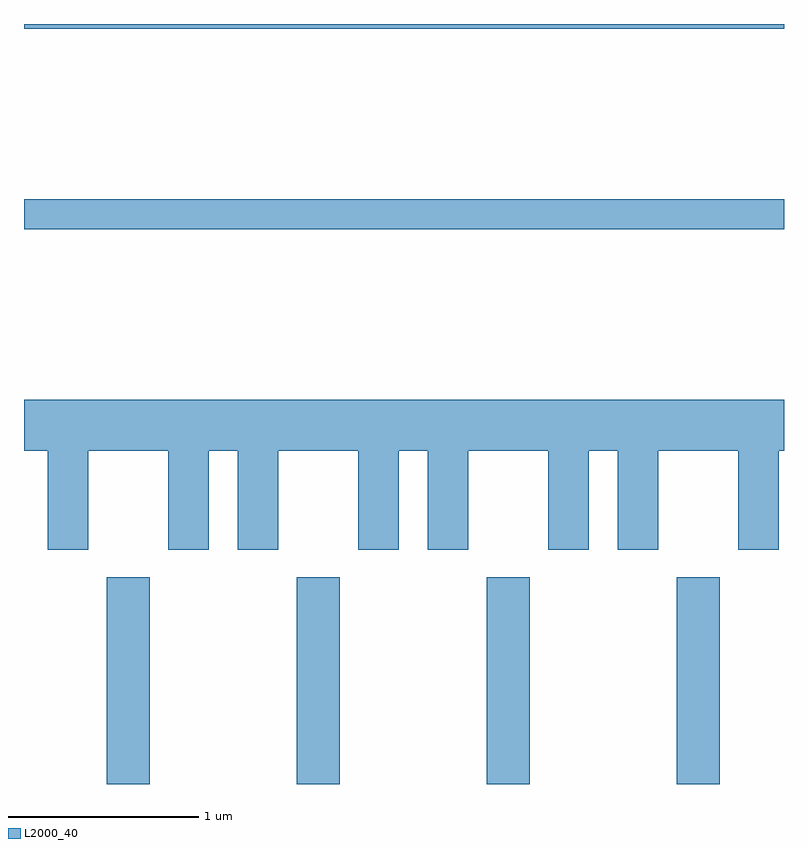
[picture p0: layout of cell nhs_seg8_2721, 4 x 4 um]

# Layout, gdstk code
import gdstk
lib = gdstk.Library(unit=1e-6, precision=1e-09)
def R(c, l, rs):  # rectangles x0, y0, x1, y1
    for r in rs: c.add(gdstk.rectangle(r[:2], r[2:], *l))
def A(c, l, x, y, w, h, nx, ny, dx, dy):  # array of equal rectangles
    R(c, l, [(x+i*dx, y+j*dy, x+i*dx+w, y+j*dy+h) for i in range(nx) for j in range(ny)])
def P(c, l, *ps):  # polygons
    for p in ps: c.add(gdstk.Polygon(p, *l))
L2000_40 = (2000, 40)

nhs_seg8_2721 = lib.new_cell('nhs_seg8_2721')
A(nhs_seg8_2721, L2000_40, 266.046, 1932.342, 0.228, 1.087, 4, 1, 1, 0)
R(nhs_seg8_2721, L2000_40, [(265.611,1935.261,269.611,1935.419), (265.611,1936.316,269.611,1936.342)])
P(nhs_seg8_2721, L2000_40, [(265.611,1934.096),(265.736,1934.096),(265.736,1933.576),(265.949,1933.576),(265.949,1934.096),(266.371,1934.096),(266.371,1933.576),(266.584,1933.576),(266.584,1934.096),(266.736,1934.096),(266.736,1933.576),(266.949,1933.576),(266.949,1934.096),(267.371,1934.096),(267.371,1933.576),(267.584,1933.576),(267.584,1934.096),(267.736,1934.096),(267.736,1933.576),(267.949,1933.576),(267.949,1934.096),(268.371,1934.096),(268.371,1933.576),(268.584,1933.576),(268.584,1934.096),(268.736,1934.096),(268.736,1933.576),(268.949,1933.576),(268.949,1934.096),(269.371,1934.096),(269.371,1933.576),(269.584,1933.576),(269.584,1934.096),(269.611,1934.096),(269.611,1934.364),(265.611,1934.364)])

lib.write_gds('nhs_seg8_2721.gds')
